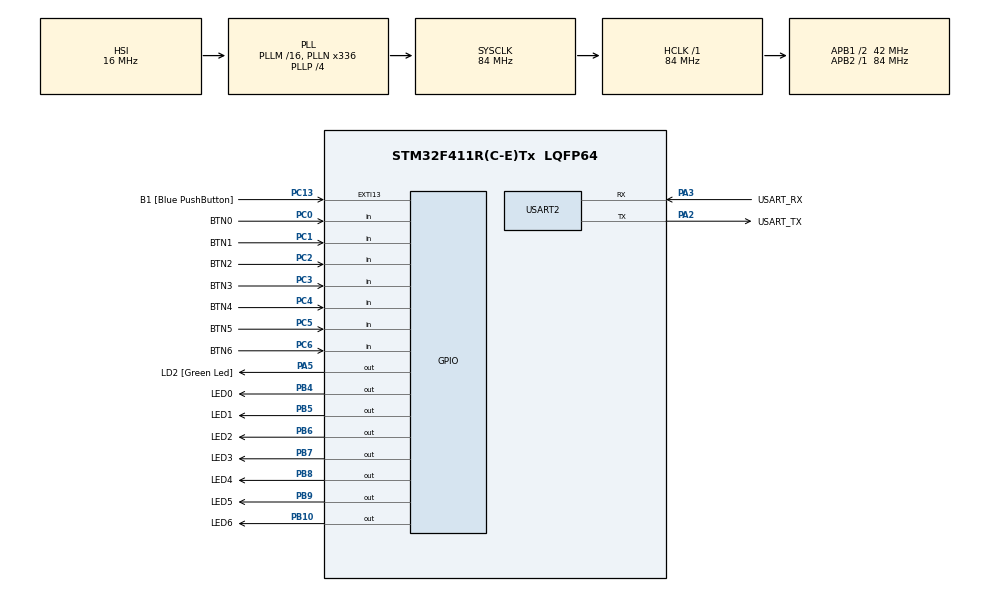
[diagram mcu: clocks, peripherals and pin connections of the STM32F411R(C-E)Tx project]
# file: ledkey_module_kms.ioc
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Mcu.Family=STM32F4
Mcu.Name=STM32F411R(C-E)Tx
Mcu.Package=LQFP64
NVIC.PriorityGroup=NVIC_PRIORITYGROUP_0
PA13.GPIO_Label=TMS
PA13.Mode=Serial_Wire
PA13.Signal=SYS_JTMS-SWDIO
PA14.GPIO_Label=TCK
PA14.Mode=Serial_Wire
PA14.Signal=SYS_JTCK-SWCLK
PA2.GPIO_Label=USART_TX
PA2.Mode=Asynchronous
PA2.Signal=USART2_TX
PA3.GPIO_Label=USART_RX
PA3.Mode=Asynchronous
PA3.Signal=USART2_RX
PA5.GPIO_Label=LD2 [Green Led]
PA5.Signal=GPIO_Output
PB10.GPIO_Label=LED6
PB10.Signal=GPIO_Output
PB3.GPIO_Label=SWO
PB3.Signal=SYS_JTDO-SWO
PB4.GPIO_Label=LED0
PB4.Signal=GPIO_Output
PB5.GPIO_Label=LED1
PB5.Signal=GPIO_Output
PB6.GPIO_Label=LED2
PB6.Signal=GPIO_Output
PB7.GPIO_Label=LED3
PB7.Signal=GPIO_Output
PB8.GPIO_Label=LED4
PB8.Signal=GPIO_Output
PB9.GPIO_Label=LED5
PB9.Signal=GPIO_Output
PC0.GPIO_Label=BTN0
PC0.Signal=GPIO_Input
PC1.GPIO_Label=BTN1
PC1.Signal=GPIO_Input
PC13-ANTI_TAMP.GPIO_Label=B1 [Blue PushButton]
PC13-ANTI_TAMP.GPIO_ModeDefaultEXTI=GPIO_MODE_IT_FALLING
PC13-ANTI_TAMP.Signal=GPXTI13
PC14-OSC32_IN.Signal=RCC_OSC32_IN
PC15-OSC32_OUT.Signal=RCC_OSC32_OUT
PC2.GPIO_Label=BTN2
PC2.Signal=GPIO_Input
PC3.GPIO_Label=BTN3
PC3.Signal=GPIO_Input
PC4.GPIO_Label=BTN4
PC4.Signal=GPIO_Input
PC5.GPIO_Label=BTN5
PC5.Signal=GPIO_Input
PC6.GPIO_Label=BTN6
PC6.Signal=GPIO_Input
PH0\ -\ OSC_IN.Signal=RCC_OSC_IN
PH1\ -\ OSC_OUT.Signal=RCC_OSC_OUT
ProjectManager.HeapSize=0x200
ProjectManager.StackSize=0x400
ProjectManager.TargetToolchain=STM32CubeIDE
RCC.48MHZClocksFreq_Value=84000000
RCC.AHBFreq_Value=84000000
RCC.APB1CLKDivider=RCC_HCLK_DIV2
RCC.APB1Freq_Value=42000000
RCC.APB1TimFreq_Value=84000000
RCC.APB2Freq_Value=84000000
RCC.APB2TimFreq_Value=84000000
RCC.CortexFreq_Value=84000000
RCC.FLatency-AdvancedSettings=FLASH_LATENCY_2
RCC.HCLKFreq_Value=84000000
RCC.HSE_VALUE=8000000
RCC.HSI_VALUE=16000000
RCC.PLLN=336
RCC.PLLP=RCC_PLLP_DIV4
RCC.SYSCLKFreq_VALUE=84000000
RCC.SYSCLKSource=RCC_SYSCLKSOURCE_PLLCLK
RCC.VCOOutputFreq_Value=336000000
USART2.VirtualMode=VM_ASYNC
board=NUCLEO-F411RE

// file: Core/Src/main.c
/* USER CODE BEGIN Header */
/**
  ******************************************************************************
  * @file           : main.c
  * @brief          : Main program body
  ******************************************************************************
  * @attention
  *
  * Copyright (c) 2025 STMicroelectronics.
  * All rights reserved.
  *
  * This software is licensed under terms that can be found in the LICENSE file
  * in the root directory of this software component.
  * If no LICENSE file comes with this software, it is provided AS-IS.
  *
  ******************************************************************************
  */
/* USER CODE END Header */
#include "main.h"
#include <stdio.h>

/* USER CODE BEGIN PD */
#define LOW 0
#define HIGH 1
#ifdef __GNUC__
/* With GCC, small printf (option LD Linker->Libraries->Small printf
   set to 'Yes') calls __io_putchar() */
#define PUTCHAR_PROTOTYPE int __io_putchar(int ch)
#else
#define PUTCHAR_PROTOTYPE int fputc(int ch, FILE *f)
#endif /* __GNUC__ */
/* USER CODE BEGIN PD */

/* USER CODE END PD */

UART_HandleTypeDef huart2;

void SystemClock_Config(void);
static void MX_GPIO_Init(void);
static void MX_USART2_UART_Init(void);

int main(void)
{

  /* USER CODE BEGIN 1 */
	int buttonState[7] = {0, }, buttonStateOld[7] = {0, }, buttonFlag = 0;
	int cnt = 0;
  /* USER CODE END 1 */

  /* MCU Configuration--------------------------------------------------------*/

  /* Reset of all peripherals, Initializes the Flash interface and the Systick. */
  HAL_Init();

  /* Configure the system clock */
  SystemClock_Config();

  /* Initialize all configured peripherals */
  MX_GPIO_Init();
  MX_USART2_UART_Init();
  /* USER CODE BEGIN 2 */
  printf("main() start\r\n");
  /* USER CODE END 2 */

  /* Infinite loop */
  /* USER CODE BEGIN WHILE */
  while (1)
  {
	  for(int i = 0; i < 7; i++)
	  {
		  buttonState[i] = HAL_GPIO_ReadPin(BTN_GPIO_Port, BTN0_Pin<<i);
		  if(buttonState[i] != buttonStateOld[i])
		  {
			  if(buttonState[i])
			  {
					HAL_GPIO_TogglePin(LED_GPIO_Port, LED0_Pin<<i);
			  	        printf("LED : %d\r\n", LED0_Pin<<i);
					printf("cnt : %d \r\n", cnt++);
			   }
				buttonStateOld[i] = buttonState[i];
			}
	  }
    /* USER CODE END WHILE */

  }
}

void SystemClock_Config(void)
{
  RCC_OscInitTypeDef RCC_OscInitStruct = {0};
  RCC_ClkInitTypeDef RCC_ClkInitStruct = {0};

  /** Configure the main internal regulator output voltage
  */
  __HAL_RCC_PWR_CLK_ENABLE();
  __HAL_PWR_VOLTAGESCALING_CONFIG(PWR_REGULATOR_VOLTAGE_SCALE1);

  /** Initializes the RCC Oscillators according to the specified parameters
  * in the RCC_OscInitTypeDef structure.
  */
  RCC_OscInitStruct.OscillatorType = RCC_OSCILLATORTYPE_HSI;
  RCC_OscInitStruct.HSIState = RCC_HSI_ON;
  RCC_OscInitStruct.HSICalibrationValue = RCC_HSICALIBRATION_DEFAULT;
  RCC_OscInitStruct.PLL.PLLState = RCC_PLL_ON;
  RCC_OscInitStruct.PLL.PLLSource = RCC_PLLSOURCE_HSI;
  RCC_OscInitStruct.PLL.PLLM = 16;
  RCC_OscInitStruct.PLL.PLLN = 336;
  RCC_OscInitStruct.PLL.PLLP = RCC_PLLP_DIV4;
  RCC_OscInitStruct.PLL.PLLQ = 4;
  if (HAL_RCC_OscConfig(&RCC_OscInitStruct) != HAL_OK)
  {
    Error_Handler();
  }

  /** Initializes the CPU, AHB and APB buses clocks
  */
  RCC_ClkInitStruct.ClockType = RCC_CLOCKTYPE_HCLK|RCC_CLOCKTYPE_SYSCLK
                              |RCC_CLOCKTYPE_PCLK1|RCC_CLOCKTYPE_PCLK2;
  RCC_ClkInitStruct.SYSCLKSource = RCC_SYSCLKSOURCE_PLLCLK;
  RCC_ClkInitStruct.AHBCLKDivider = RCC_SYSCLK_DIV1;
  RCC_ClkInitStruct.APB1CLKDivider = RCC_HCLK_DIV2;
  RCC_ClkInitStruct.APB2CLKDivider = RCC_HCLK_DIV1;

  if (HAL_RCC_ClockConfig(&RCC_ClkInitStruct, FLASH_LATENCY_2) != HAL_OK)
  {
    Error_Handler();
  }
}

static void MX_USART2_UART_Init(void)
{

  huart2.Instance = USART2;
  huart2.Init.BaudRate = 115200;
  huart2.Init.WordLength = UART_WORDLENGTH_8B;
  huart2.Init.StopBits = UART_STOPBITS_1;
  huart2.Init.Parity = UART_PARITY_NONE;
  huart2.Init.Mode = UART_MODE_TX_RX;
  huart2.Init.HwFlowCtl = UART_HWCONTROL_NONE;
  huart2.Init.OverSampling = UART_OVERSAMPLING_16;
  if (HAL_UART_Init(&huart2) != HAL_OK)
  {
    Error_Handler();
  }

}

static void MX_GPIO_Init(void)
{
  GPIO_InitTypeDef GPIO_InitStruct = {0};

  /* GPIO Ports Clock Enable */
  __HAL_RCC_GPIOC_CLK_ENABLE();
  __HAL_RCC_GPIOH_CLK_ENABLE();
  __HAL_RCC_GPIOA_CLK_ENABLE();
  __HAL_RCC_GPIOB_CLK_ENABLE();

  /*Configure GPIO pin Output Level */
  HAL_GPIO_WritePin(LD2_GPIO_Port, LD2_Pin, GPIO_PIN_RESET);

  /*Configure GPIO pin Output Level */
  HAL_GPIO_WritePin(GPIOB, LED6_Pin|LED0_Pin|LED1_Pin|LED2_Pin
                          |LED3_Pin|LED4_Pin|LED5_Pin, GPIO_PIN_RESET);

  /*Configure GPIO pin : B1_Pin */
  GPIO_InitStruct.Pin = B1_Pin;
  GPIO_InitStruct.Mode = GPIO_MODE_IT_FALLING;
  GPIO_InitStruct.Pull = GPIO_NOPULL;
  HAL_GPIO_Init(B1_GPIO_Port, &GPIO_InitStruct);

  /*Configure GPIO pins : BTN0_Pin BTN1_Pin BTN2_Pin BTN3_Pin
                           BTN4_Pin BTN5_Pin BTN6_Pin */
  GPIO_InitStruct.Pin = BTN0_Pin|BTN1_Pin|BTN2_Pin|BTN3_Pin
                          |BTN4_Pin|BTN5_Pin|BTN6_Pin;
  GPIO_InitStruct.Mode = GPIO_MODE_INPUT;
  GPIO_InitStruct.Pull = GPIO_NOPULL;
  HAL_GPIO_Init(GPIOC, &GPIO_InitStruct);

  /*Configure GPIO pin : LD2_Pin */
  GPIO_InitStruct.Pin = LD2_Pin;
  GPIO_InitStruct.Mode = GPIO_MODE_OUTPUT_PP;
  GPIO_InitStruct.Pull = GPIO_NOPULL;
  GPIO_InitStruct.Speed = GPIO_SPEED_FREQ_LOW;
  HAL_GPIO_Init(LD2_GPIO_Port, &GPIO_InitStruct);

  /*Configure GPIO pins : LED6_Pin LED0_Pin LED1_Pin LED2_Pin
                           LED3_Pin LED4_Pin LED5_Pin */
  GPIO_InitStruct.Pin = LED6_Pin|LED0_Pin|LED1_Pin|LED2_Pin
                          |LED3_Pin|LED4_Pin|LED5_Pin;
  GPIO_InitStruct.Mode = GPIO_MODE_OUTPUT_PP;
  GPIO_InitStruct.Pull = GPIO_NOPULL;
  GPIO_InitStruct.Speed = GPIO_SPEED_FREQ_LOW;
  HAL_GPIO_Init(GPIOB, &GPIO_InitStruct);

}

/* USER CODE BEGIN 4 */
/**
  * @brief  Retargets the C library printf function to the USART.
  * @param  None
  * @retval None
  */
PUTCHAR_PROTOTYPE
{
  /* Place your implementation of fputc here */
  /* e.g. write a character to the USART6 and Loop until the end of transmission */
  HAL_UART_Transmit(&huart2, (uint8_t *)&ch, 1, 0xFFFF);

  return ch;
}
/* USER CODE END 4 */

void Error_Handler(void)
{
  __disable_irq();
  while (1)
  {
  }
}
